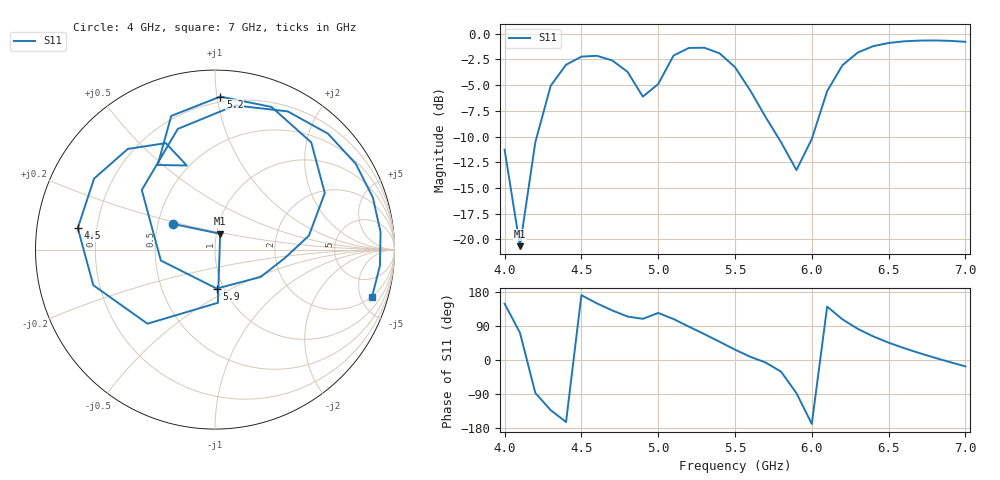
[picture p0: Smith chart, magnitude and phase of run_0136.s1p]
! Touchstone file exported from HFSS 2024.2.0
!  File:  C:/Users/wsak9/Desktop/Sim Fast/Widenad Patch/WP_AI_V1_sweep.aedt
!  Generated:  08:35:36 PM Oct 13, 2026
!  Design:  A1_model
!  Project:  WP_AI_V1_sweep
!  Setup:  Setup1
!  Solution:  Sweep
! Variables:
!  Air_gap = 1.56mm
!  Curve_Amp1 = 3.55
!  Curve_len1 = 1
!  Curve_pos = 12.81mm
!  Extra = 7.97mm
!  H_sub = 0.79mm
!  L_Patch = 21.62mm
!  L_Patch1 = 22.93mm
!  Sx = 0.94mm
!  Sy = 2.81mm
!  WS = 0.69mm
!  W_Patch = 12.5mm
!  W_Patch1 = 14.96mm
!Data is not renormalized
# GHz S MA
! Terminal data exported
! Port[1] = 1
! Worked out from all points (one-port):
!   31 points, 4 GHz to 7 GHz, reference per port
!   lowest |S11| = -20.7 dB at 4.1 GHz (marker M1), VSWR 1.20
!   |S11| at or under -10 dB: start of sweep to 4.21 GHz; 5.777 GHz to 6.005 GHz (227.8 MHz wide, 3.87 % of centre)
!   S11 on the Smith chart (normalised r, x): 4 GHz: 0.60, +0.19; 4.5 GHz: 0.13, +0.08; 5.2 GHz: 0.16, +1.02; 5.9 GHz: 0.93, -0.42; 7 GHz: 1.92, -6.16
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4  0.2729 148.5
4.1  0.09273 71.9
4.2  0.2968 -86.9
4.3  0.5586 -132.3
4.4  0.7064 -163.7
4.5  0.774 171.1
4.6  0.7813 149.6
4.7  0.7421 130.9
4.8  0.6534 114.8
4.9  0.4945 108.6
5  0.5694 124.1
5.1  0.7837 108.1
5.2  0.8529 88.0
5.3  0.8549 68.4
5.4  0.8026 48.1
5.5  0.6881 27.3
5.6  0.529 8.5
5.8  0.2967 -30.8
5.9  0.2174 -87.4
6  0.3078 -168.6
6.1  0.5258 140.9
6.2  0.7036 107.1
6.3  0.8111 82.0
6.4  0.8701 62.2
6.5  0.9018 45.8
6.7  0.9262 18.3
6.8  0.9275 6.1
7  0.9135 -16.9
